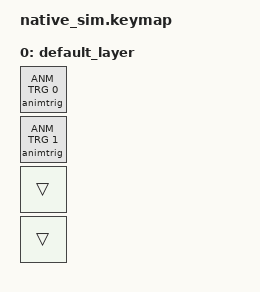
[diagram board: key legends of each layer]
#include "../test.dtsi"
#include <dt-bindings/zmk/keys.h>
#include <dt-bindings/zmk/kscan_mock.h>
#include <zmk_driver_animation/animation.dtsi>
#include <behaviors/animation_trigger.dtsi>
#include <dt-bindings/zmk_driver_animation/animation_control.h>
#include <dt-bindings/zmk_driver_animation/animation_trigger.h>

/*
 * Regression test for animation_stop_work_handler's reschedule bug
 * (src/behaviors/animation_trigger.c): it used to track the MAXIMUM
 * remaining duration across active trigger slots and reschedule the next
 * handler run that far out, instead of the MINIMUM - so a slot with a
 * short remaining duration could be starved from being checked (and
 * stopped) on time by another slot with a much longer remaining duration.
 *
 * Config (native_sim.conf): MIN_DURATION_MS=5000, EXTEND_MS_ON_HOLD=200 -
 * deliberately asymmetric so the effect is large and easy to assert on via
 * log line counts (this repo's usual events.patterns/snapshot style; no
 * wall-clock timestamps are logged, so the assertion is on *how many*
 * "still held, extending" lines appear, not on literal millisecond values).
 *
 * Slot B (key position 1, animtrig index 1) is pressed and held for the
 * entire test (never released), so animation_stop_work_handler
 * continuously re-extends it by EXTEND_MS_ON_HOLD (200ms) every time it is
 * checked - as long as the handler keeps waking up every ~200ms as it
 * should, "animtrig 1: still held, extending" logs once per wakeup.
 *
 * Slot A (key position 0, animtrig index 0) is pressed once, shortly after
 * B's first extension, and released almost immediately, so it needs the
 * full MIN_DURATION_MS (5000ms) of its own budget to elapse (decremented by
 * whatever the handler's actual wakeup interval turns out to be) before it
 * stops.
 *
 * Correct (fixed) behavior: the handler keeps waking up every ~200ms
 * (driven by B's short remaining being the minimum), so B keeps logging
 * "still held, extending" throughout - roughly 25+ times - while A's
 * 5000ms budget ticks down 200ms at a time in the background, until A
 * finally logs "stop (duration elapsed)".
 *
 * Buggy (pre-fix) behavior: once A (fresh remaining ~5000ms) and B
 * (remaining 200ms) are both active, the old code picked A's much larger
 * remaining as the next reschedule delay, so B's "still held, extending"
 * stops appearing for a ~4800ms stretch - only 3-4 such lines total appear
 * before A's own deadline finally forces the next wakeup, at which point
 * both A's stop and B's extend land on the same, badly-delayed tick. The
 * snapshot below asserts the fixed (frequent) count.
 */

/ {
    mock_led_strip0: mock_led_strip_0 {
        compatible = "zmk,mock-led-strip";
        chain-length = <1>;
    };

    animation: animation {
        compatible = "zmk,animation";
        drivers = <&mock_led_strip0>;
        chain-lengths = <1>;
        pixels = <&pixel 0 0>;
    };

    animation_base: animation_base {
        compatible = "zmk,animation-solid";
        pixels = <0>;
        colors = <HSL(0, 100, 50)>;
    };

    animation_overlay_a: animation_overlay_a {
        compatible = "zmk,animation-solid";
        pixels = <0>;
        colors = <HSL(240, 100, 50)>;
    };

    animation_overlay_b: animation_overlay_b {
        compatible = "zmk,animation-solid";
        pixels = <0>;
        colors = <HSL(120, 100, 50)>;
    };

    animation_control0: animation_control_0 {
        compatible = "zmk,animation-control";
        powered-animations = <&animation_base>;
        battery-animations = <&animation_base>;
        behavior-animations = <&animation_overlay_a &animation_overlay_b>;
    };

    chosen {
        zmk,animation = &animation_control0;
        zmk,animation-control = &animation_control0;
    };

    keymap {
        compatible = "zmk,keymap";

        default_layer {
            bindings = <
            &animtrig ANM_TRG 0
            &animtrig ANM_TRG 1
            &trans
            &trans
            >;
        };
    };
};

/*
 * Absolute timeline (ZMK_MOCK_PRESS/RELEASE's msec is the delay before the
 * *next* events-list entry fires, per tests/overlay_queue's
 * native_sim.keymap comment):
 *   t=0      press position 1 (slot B, index 1): schedules
 *            animation_stop_work at t=5000 (MIN_DURATION_MS). Never
 *            released - held for the rest of the test.
 *   t=5300   press position 0 (slot A, index 0): a fresh slot with
 *            remaining=5000ms. By now animation_stop_work has already
 *            ticked at least once (at t=5000, extending B to 200ms) and
 *            settled into B's ~200ms-cycle rhythm (ticks at 5200, 5400,
 *            ...) - t=5300 is deliberately placed mid-cycle (100ms clear
 *            of the 5200 and 5400 ticks on either side) so which cycle A
 *            is first observed in doesn't depend on scheduler/log-timing
 *            jitter between the press event and a tick landing at nearly
 *            the same instant.
 *   t=5330   release position 0: A's num_pressed drops to 0.
 *   (long trailing delay so the sim stays alive well past A's ~10200ms
 *   deadline; final no-op release on an unbound position, matching the
 *   trailing-keepalive trick used by tests/animation_trigger.)
 */
&kscan {
    events = <
    ZMK_MOCK_PRESS(0,1,5300)
    ZMK_MOCK_PRESS(0,0,30)
    ZMK_MOCK_RELEASE(0,0,10300)
    ZMK_MOCK_RELEASE(1,0,300)
    >;
};
